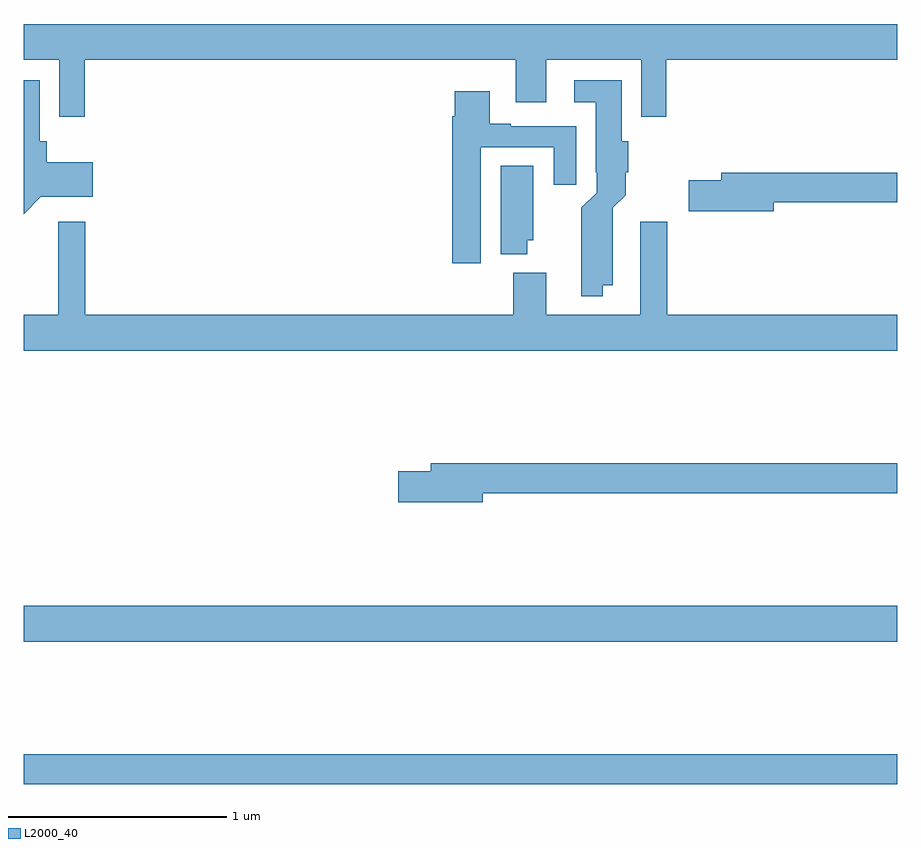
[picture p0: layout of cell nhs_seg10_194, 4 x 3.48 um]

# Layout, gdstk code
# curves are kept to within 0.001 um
import gdstk
lib = gdstk.Library(unit=1e-6, precision=1e-09)
def R(c, l, rs):  # rectangles x0, y0, x1, y1
    for r in rs: c.add(gdstk.rectangle(r[:2], r[2:], *l))
def P(c, l, *ps):  # polygons
    for p in ps: c.add(gdstk.Polygon(p, *l))
L2000_40 = (2000, 40)

nhs_seg10_194 = lib.new_cell('nhs_seg10_194')
R(nhs_seg10_194, L2000_40, [(119,1316.98,123,1317.116), (119,1317.632,123,1317.796)])
P(nhs_seg10_194, L2000_40, [(119.279,1320.296),(121.253,1320.296),(121.253,1320.102),(121.393,1320.102),(121.393,1320.296),(121.827,1320.296),(121.827,1320.036),(121.943,1320.036),(121.943,1320.296),(123,1320.296),(123,1320.46),(119,1320.46),(119,1320.296),(119.163,1320.296),(119.163,1320.036),(119.279,1320.036)],
  [(119.079,1319.669),(119.317,1319.669),(119.317,1319.827),(119.105,1319.827),(119.105,1319.922),(119.074,1319.922),(119.074,1320.202),(119,1320.202),(119,1319.589)],
  [(121.651,1319.264),(121.696,1319.264),(121.697,1319.618),(121.756,1319.677),(121.756,1319.782),(121.769,1319.782),(121.769,1319.922),(121.738,1319.922),(121.738,1320.202),(121.521,1320.202),(121.521,1320.101),(121.619,1320.101),(121.619,1319.782),(121.623,1319.782),(121.623,1319.688),(121.553,1319.618),(121.554,1319.213),(121.651,1319.213)],
  [(121.093,1319.895),(121.427,1319.895),(121.427,1319.724),(121.531,1319.724),(121.531,1319.991),(121.231,1319.991),(121.231,1320.004),(121.135,1320.004),(121.135,1320.151),(120.974,1320.151),(120.974,1320.038),(120.962,1320.038),(120.962,1319.364),(121.093,1319.364)],
  [(121.306,1319.469),(121.333,1319.469),(121.333,1319.81),(121.184,1319.81),(121.184,1319.405),(121.306,1319.405)],
  [(122.434,1319.644),(123,1319.644),(123,1319.78),(122.195,1319.78),(122.195,1319.744),(122.046,1319.744),(122.046,1319.602),(122.434,1319.602)],
  [(123,1319.128),(121.946,1319.128),(121.946,1319.554),(121.823,1319.554),(121.823,1319.128),(121.393,1319.128),(121.393,1319.32),(121.241,1319.32),(121.241,1319.128),(119.282,1319.128),(119.282,1319.554),(119.159,1319.554),(119.159,1319.128),(119,1319.128),(119,1318.964),(123,1318.964)],
  [(121.102,1318.312),(123,1318.312),(123,1318.448),(120.863,1318.448),(120.863,1318.412),(120.714,1318.412),(120.714,1318.27),(121.102,1318.27)])

lib.write_gds('nhs_seg10_194.gds')
